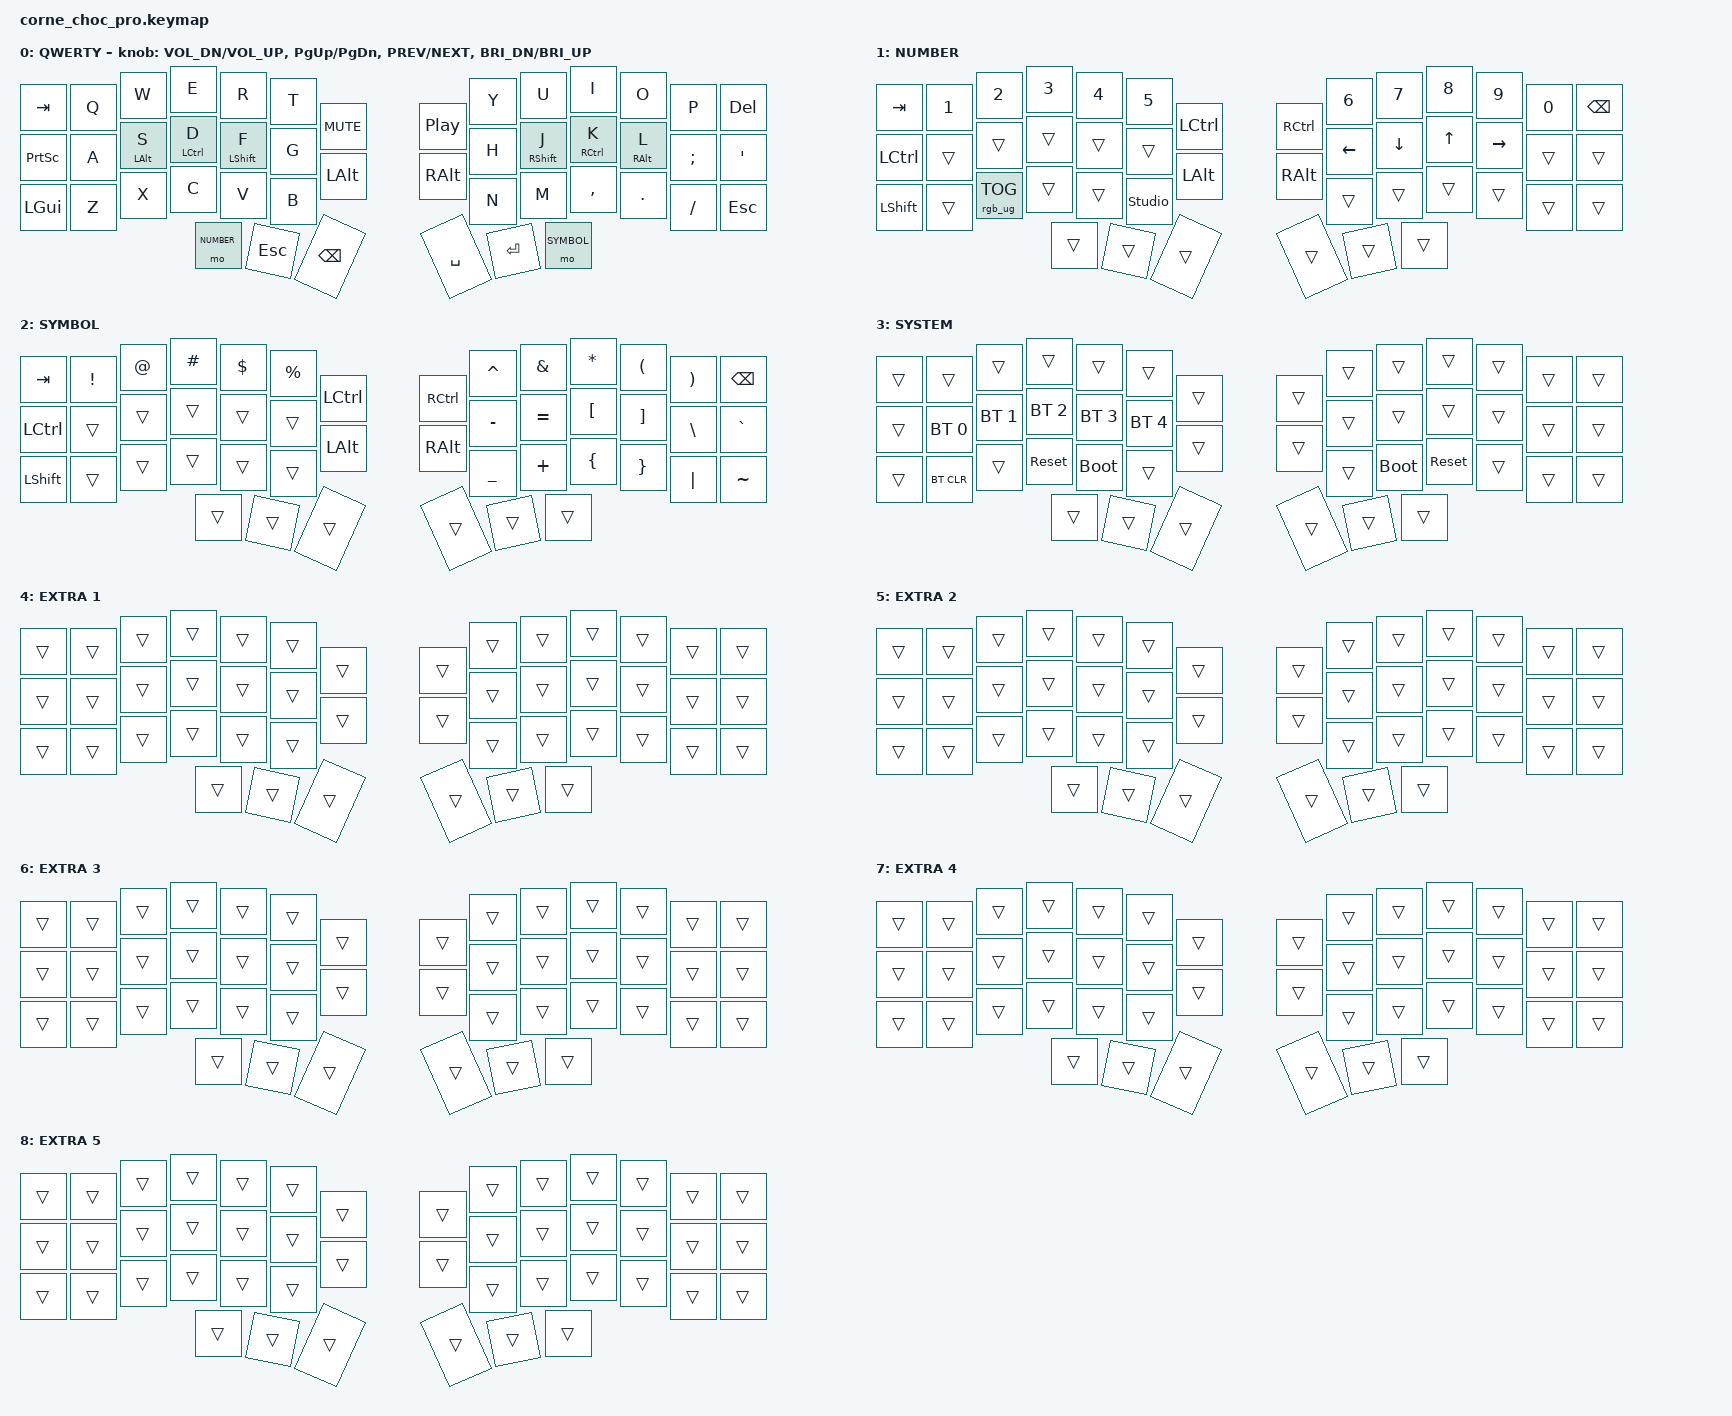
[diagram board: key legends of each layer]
/*
 * Copyright (c) 2026 The ZMK Contributors
 *
 * SPDX-License-Identifier: MIT
 */

#include <behaviors.dtsi>
#include <dt-bindings/zmk/keys.h>
#include <dt-bindings/zmk/bt.h>
#include <dt-bindings/zmk/rgb.h>

/*
 * Key positions:
 *
 *    0  1  2  3  4  5  6      7  8  9 10 11 12 13
 *   14 15 16 17 18 19 20     21 22 23 24 25 26 27
 *   28 29 30 31 32 33           34 35 36 37 38 39
 *            40 41 42           43 44 45
 *
 * Layers, by index (the conditional layer below refers to them by number):
 *
 *   0 QWERTY   1 NUMBER (lower)   2 SYMBOL (raise)   3 SYSTEM   4-8 spare
 */

#define QWERTY 0
#define NUMBER 1
#define SYMBOL 2
#define SYSTEM 3

/ {
    behaviors {
        // Home row mods: tap for the letter, hold for the modifier.
        //
        //   tapping-term-ms        how long a key has to be held on its own
        //                          before it becomes the modifier.
        //   quick-tap-ms           tapping the key and holding it again within
        //                          this time repeats the letter instead.
        //   require-prior-idle-ms  a key pressed this soon after another key
        //                          is always the letter, which keeps fast
        //                          typing from firing modifiers.
        //
        // Lower numbers make the modifiers kick in sooner, higher numbers
        // make accidental modifiers less likely.
        hm: homerow_mods {
            compatible = "zmk,behavior-hold-tap";
            #binding-cells = <2>;
            flavor = "balanced";
            tapping-term-ms = <280>;
            quick-tap-ms = <175>;
            require-prior-idle-ms = <150>;
            bindings = <&kp>, <&kp>;
        };

        // The same thing for the two Shift keys (F and J), but with a much
        // shorter idle requirement. Shift is the one modifier that is needed
        // right after a word, for "?", "!" and capitals; with 150 ms those
        // come out as "f/" instead of "?". If stray capitals show up while
        // typing fast, raise require-prior-idle-ms here.
        hs: homerow_shift {
            compatible = "zmk,behavior-hold-tap";
            #binding-cells = <2>;
            flavor = "balanced";
            tapping-term-ms = <280>;
            quick-tap-ms = <175>;
            require-prior-idle-ms = <50>;
            bindings = <&kp>, <&kp>;
        };
    };

    conditional_layers {
        compatible = "zmk,conditional-layers";

        // Holding both layer thumbs (LWR + RSE) gives the SYSTEM layer. It is
        // only active while both are held, so the keyboard cannot be left on
        // it by accident.
        system_layer {
            if-layers = <NUMBER SYMBOL>;
            then-layer = <SYSTEM>;
        };
    };

    keymap {
        compatible = "zmk,keymap";

        default_layer {
            display-name = "QWERTY";
            // -------------------------------------------------------------------------------------------
            // | TAB |  Q  |  W  |  E  |  R  |  T  | MUTE |   |  PP  |  Y  |  U  |  I  |  O  |  P  | DEL |
            // |PRTSC|  A  |S/ALT|D/CTL|F/SFT|  G  | LALT |   | RALT |  H  |J/SFT|K/CTL|L/AGR|  ;  |  '  |
            // | WIN |  Z  |  X  |  C  |  V  |  B  |                 |  N  |  M  |  ,  |  .  |  /  | ESC |
            //                   | LWR | ESC | BSPC |                | SPC | ENT | RSE |
            bindings = <
                &kp TAB &kp Q &kp W      &kp E       &kp R       &kp T &kp C_MUTE &kp C_PP &kp Y &kp U       &kp I       &kp O      &kp P    &kp DEL
                &kp PSCRN &kp A &hm LALT S &hm LCTRL D &hs LSHFT F &kp G &kp LALT   &kp RALT &kp H &hs RSHFT J &hm RCTRL K &hm RALT L &kp SEMI &kp SQT
                &kp LGUI &kp Z &kp X      &kp C       &kp V       &kp B                     &kp N &kp M       &kp COMMA   &kp DOT    &kp FSLH &kp ESC
                                         &mo NUMBER  &kp ESC     &kp BSPC                  &kp SPACE &kp RET &mo SYMBOL
            >;
            // One binding per encoder: left 1, left 2, right 1, right 2.
            sensor-bindings = <&inc_dec_kp C_VOL_DN C_VOL_UP &inc_dec_kp PG_UP PG_DN &inc_dec_kp C_PREV C_NEXT &inc_dec_kp C_BRI_DN C_BRI_UP>;
        };

        lower_layer {
            display-name = "NUMBER";
            // -------------------------------------------------------------------------------------------
            // | TAB |  1  |  2  |  3  |  4  |  5  | LCTL |   | RCTL |  6  |  7  |  8  |  9  |  0  | BSPC |
            // | CTL |     |     |     |     |     | LALT |   | RALT | LFT | DWN | UP  | RGT |     |      |
            // | SFT |     | RGB |     |     | UNLK|                 |     |     |     |     |     |      |
            //                   |     |     |     |                 |     |     |     |
            bindings = <
                &kp TAB   &kp N1 &kp N2          &kp N3 &kp N4 &kp N5         &kp LCTRL &kp RCTRL &kp N6   &kp N7   &kp N8 &kp N9    &kp N0 &kp BSPC
                &kp LCTRL &trans &trans          &trans &trans &trans         &kp LALT  &kp RALT  &kp LEFT &kp DOWN &kp UP &kp RIGHT &trans &trans
                &kp LSHFT &trans &rgb_ug RGB_TOG &trans &trans &studio_unlock                     &trans   &trans   &trans &trans    &trans &trans
                                                 &trans &trans &trans                             &trans   &trans   &trans
            >;
        };

        raise_layer {
            display-name = "SYMBOL";
            // -------------------------------------------------------------------------------------------
            // | TAB |  !  |  @  |  #  |  $  |  %  | LCTL |   | RCTL |  ^  |  &  |  *  |  (  |  )  | BSPC |
            // | CTL |     |     |     |     |     | LALT |   | RALT |  -  |  =  |  [  |  ]  |  \  |  `   |
            // | SFT |     |     |     |     |     |                 |  _  |  +  |  {  |  }  |  |  |  ~   |
            //                   |     |     |     |                 |     |     |     |
            bindings = <
                &kp TAB   &kp EXCL &kp AT &kp HASH &kp DLLR &kp PRCNT &kp LCTRL &kp RCTRL &kp CARET &kp AMPS  &kp ASTRK &kp LPAR &kp RPAR &kp BSPC
                &kp LCTRL &trans   &trans &trans   &trans   &trans    &kp LALT  &kp RALT  &kp MINUS &kp EQUAL &kp LBKT  &kp RBKT &kp BSLH &kp GRAVE
                &kp LSHFT &trans   &trans &trans   &trans   &trans                        &kp UNDER &kp PLUS  &kp LBRC  &kp RBRC &kp PIPE &kp TILDE
                                          &trans   &trans   &trans                        &trans    &trans    &trans
            >;
        };

        system_layer {
            display-name = "SYSTEM";
            // Active while both layer thumbs are held. Everything that can
            // drop the connection lives here and nowhere else: profile
            // selection, clearing a pairing, reset and bootloader.
            //
            // RST and BOOT act on the half they are pressed on.
            // -------------------------------------------------------------------------------------------
            // |     |     |     |     |     |     |      |   |      |     |     |     |     |     |      |
            // |     | BT1 | BT2 | BT3 | BT4 | BT5 |      |   |      |     |     |     |     |     |      |
            // |     | CLR |     | RST | BOOT|     |                 |     | BOOT| RST |     |     |      |
            //                   |     |     |     |                 |     |     |     |
            bindings = <
                &trans &trans       &trans       &trans       &trans       &trans       &trans &trans &trans &trans      &trans     &trans &trans &trans
                &trans &bt BT_SEL 0 &bt BT_SEL 1 &bt BT_SEL 2 &bt BT_SEL 3 &bt BT_SEL 4 &trans &trans &trans &trans      &trans     &trans &trans &trans
                &trans &bt BT_CLR   &trans       &sys_reset   &bootloader  &trans                     &trans &bootloader &sys_reset &trans &trans &trans
                                                 &trans       &trans       &trans                     &trans &trans      &trans
            >;
        };

        // Spare layers, so there is room to add layers from ZMK Studio.

        extra_layer_1 {
            display-name = "EXTRA 1";
            bindings = <
                &trans &trans &trans &trans &trans &trans &trans &trans &trans &trans &trans &trans &trans &trans
                &trans &trans &trans &trans &trans &trans &trans &trans &trans &trans &trans &trans &trans &trans
                &trans &trans &trans &trans &trans &trans               &trans &trans &trans &trans &trans &trans
                                     &trans &trans &trans               &trans &trans &trans
            >;
        };

        extra_layer_2 {
            display-name = "EXTRA 2";
            bindings = <
                &trans &trans &trans &trans &trans &trans &trans &trans &trans &trans &trans &trans &trans &trans
                &trans &trans &trans &trans &trans &trans &trans &trans &trans &trans &trans &trans &trans &trans
                &trans &trans &trans &trans &trans &trans               &trans &trans &trans &trans &trans &trans
                                     &trans &trans &trans               &trans &trans &trans
            >;
        };

        extra_layer_3 {
            display-name = "EXTRA 3";
            bindings = <
                &trans &trans &trans &trans &trans &trans &trans &trans &trans &trans &trans &trans &trans &trans
                &trans &trans &trans &trans &trans &trans &trans &trans &trans &trans &trans &trans &trans &trans
                &trans &trans &trans &trans &trans &trans               &trans &trans &trans &trans &trans &trans
                                     &trans &trans &trans               &trans &trans &trans
            >;
        };

        extra_layer_4 {
            display-name = "EXTRA 4";
            bindings = <
                &trans &trans &trans &trans &trans &trans &trans &trans &trans &trans &trans &trans &trans &trans
                &trans &trans &trans &trans &trans &trans &trans &trans &trans &trans &trans &trans &trans &trans
                &trans &trans &trans &trans &trans &trans               &trans &trans &trans &trans &trans &trans
                                     &trans &trans &trans               &trans &trans &trans
            >;
        };

        extra_layer_5 {
            display-name = "EXTRA 5";
            bindings = <
                &trans &trans &trans &trans &trans &trans &trans &trans &trans &trans &trans &trans &trans &trans
                &trans &trans &trans &trans &trans &trans &trans &trans &trans &trans &trans &trans &trans &trans
                &trans &trans &trans &trans &trans &trans               &trans &trans &trans &trans &trans &trans
                                     &trans &trans &trans               &trans &trans &trans
            >;
        };
    };
};
